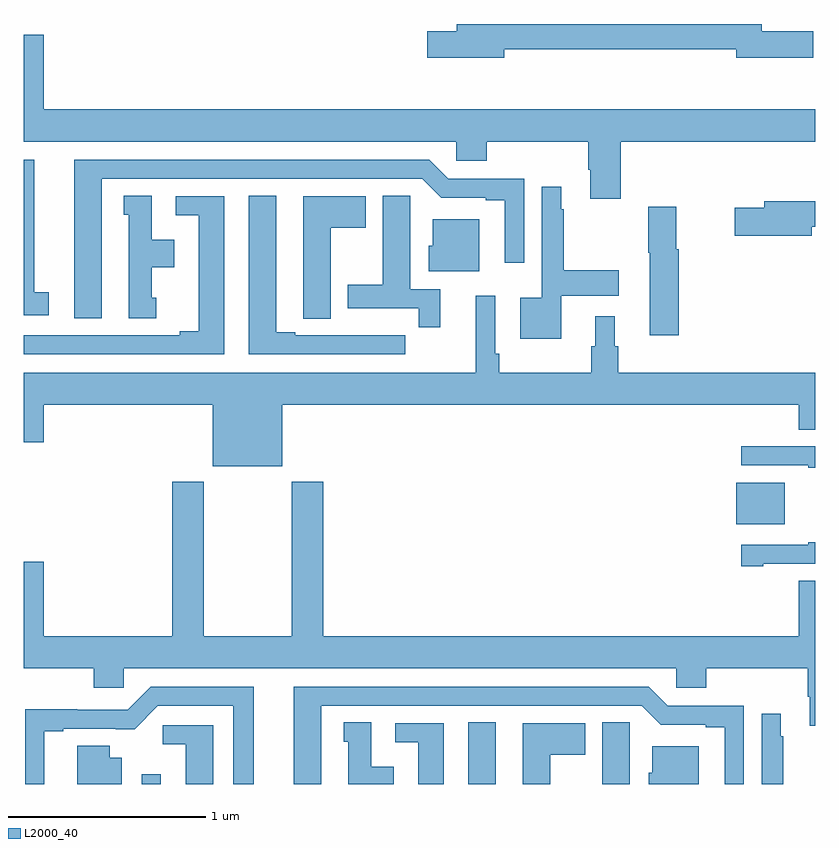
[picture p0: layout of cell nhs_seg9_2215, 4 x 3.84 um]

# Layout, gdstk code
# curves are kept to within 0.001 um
import gdstk
lib = gdstk.Library(unit=1e-6, precision=1e-09)
def R(c, l, rs):  # rectangles x0, y0, x1, y1
    for r in rs: c.add(gdstk.rectangle(r[:2], r[2:], *l))
def P(c, l, *ps):  # polygons
    for p in ps: c.add(gdstk.Polygon(p, *l))
L2000_40 = (2000, 40)

nhs_seg9_2215 = lib.new_cell('nhs_seg9_2215')
R(nhs_seg9_2215, L2000_40, [(237.597,1198.5,237.693,1198.549), (239.246,1198.5,239.386,1198.811), (240.602,1199.813,240.847,1200.022)])
P(nhs_seg9_2215, L2000_40, [(239.428,1202.214),(240.602,1202.214),(240.602,1202.171),(240.991,1202.171),(240.991,1202.306),(240.73,1202.306),(240.73,1202.342),(239.189,1202.342),(239.189,1202.306),(239.04,1202.306),(239.04,1202.171),(239.428,1202.171)],
  [(240.017,1201.748),(241,1201.748),(241,1201.912),(237.1,1201.912),(237.1,1202.287),(237,1202.287),(237,1201.748),(239.187,1201.748),(239.187,1201.65),(239.339,1201.65),(239.339,1201.748),(239.852,1201.748),(239.852,1201.606),(239.864,1201.606),(239.864,1201.458),(240.017,1201.458)],
  [(237.127,1200.986),(237.052,1200.986),(237.052,1201.656),(237,1201.656),(237,1200.87),(237.127,1200.87)],
  [(237.394,1201.56),(239.013,1201.56),(239.109,1201.464),(239.336,1201.464),(239.336,1201.452),(239.432,1201.452),(239.432,1201.134),(239.529,1201.134),(239.529,1201.56),(239.145,1201.56),(239.049,1201.656),(237.254,1201.656),(237.254,1200.855),(237.394,1200.855)],
  [(239.716,1200.968),(240.007,1200.968),(240.007,1201.098),(239.728,1201.098),(239.728,1201.406),(239.716,1201.406),(239.716,1201.519),(239.619,1201.519),(239.619,1200.958),(239.51,1200.958),(239.51,1200.752),(239.716,1200.752)],
  [(239.105,1201.002),(238.954,1201.002),(238.954,1201.364),(238.953,1201.364),(238.953,1201.475),(238.814,1201.475),(238.814,1201.023),(238.637,1201.023),(238.637,1200.906),(238.996,1200.906),(238.996,1200.81),(239.105,1200.81)],
  [(238.927,1200.768),(238.814,1200.768),(238.814,1200.769),(238.648,1200.769),(238.648,1200.768),(238.372,1200.768),(238.372,1200.783),(238.276,1200.783),(238.276,1201.475),(238.136,1201.475),(238.136,1200.672),(238.927,1200.672)],
  [(237.67,1200.957),(237.646,1200.957),(237.646,1201.112),(237.76,1201.112),(237.76,1201.252),(237.646,1201.252),(237.646,1201.475),(237.506,1201.475),(237.506,1201.377),(237.53,1201.377),(237.53,1200.855),(237.67,1200.855)],
  [(238.552,1201.312),(238.729,1201.312),(238.729,1201.471),(238.412,1201.471),(238.412,1200.961),(238.413,1200.961),(238.413,1200.853),(238.552,1200.853)],
  [(238.012,1201.47),(237.768,1201.47),(237.768,1201.374),(237.884,1201.374),(237.884,1200.788),(237.788,1200.788),(237.788,1200.768),(237,1200.768),(237,1200.672),(238.012,1200.672)],
  [(240.982,1201.318),(241,1201.318),(241,1201.447),(240.743,1201.447),(240.743,1201.413),(240.594,1201.413),(240.594,1201.271),(240.982,1201.271)],
  [(240.311,1201.204),(240.298,1201.204),(240.298,1201.417),(240.157,1201.417),(240.157,1201.186),(240.164,1201.186),(240.164,1200.768),(240.311,1200.768)],
  [(239.302,1201.354),(239.066,1201.354),(239.066,1201.221),(239.048,1201.221),(239.048,1201.091),(239.302,1201.091)],
  [(238.306,1200.416),(240.917,1200.416),(240.917,1200.292),(241,1200.292),(241,1200.58),(240.005,1200.58),(240.005,1200.714),(239.986,1200.714),(239.986,1200.865),(239.888,1200.865),(239.888,1200.714),(239.869,1200.714),(239.869,1200.58),(239.402,1200.58),(239.402,1200.676),(239.382,1200.676),(239.382,1200.967),(239.285,1200.967),(239.285,1200.58),(237,1200.58),(237,1200.228),(237.1,1200.228),(237.1,1200.416),(237.956,1200.416),(237.956,1200.107),(238.306,1200.107)],
  [(241,1200.207),(240.627,1200.207),(240.627,1200.111),(240.965,1200.111),(240.965,1200.099),(241,1200.099)],
  [(241,1199.528),(240.917,1199.528),(240.917,1199.248),(238.514,1199.248),(238.514,1200.028),(238.354,1200.028),(238.354,1199.248),(237.909,1199.248),(237.909,1200.028),(237.749,1200.028),(237.749,1199.248),(237.1,1199.248),(237.1,1199.623),(237,1199.623),(237,1199.084),(237.353,1199.084),(237.353,1198.986),(237.504,1198.986),(237.504,1199.084),(240.297,1199.084),(240.297,1198.986),(240.449,1198.986),(240.449,1199.084),(240.962,1199.084),(240.962,1198.942),(240.974,1198.942),(240.974,1198.794),(241,1198.794)],
  [(240.739,1199.613),(241,1199.613),(241,1199.722),(240.965,1199.722),(240.965,1199.709),(240.627,1199.709),(240.627,1199.601),(240.739,1199.601)],
  [(237.103,1198.767),(237.199,1198.767),(237.199,1198.779),(237.56,1198.778),(237.678,1198.896),(238.058,1198.896),(238.058,1198.5),(238.162,1198.5),(238.162,1198.992),(237.642,1198.992),(237.525,1198.875),(237.269,1198.875),(237.269,1198.877),(237.006,1198.877),(237.006,1198.5),(237.103,1198.5)],
  [(238.504,1198.896),(240.123,1198.896),(240.219,1198.8),(240.446,1198.8),(240.446,1198.788),(240.542,1198.788),(240.542,1198.5),(240.639,1198.5),(240.639,1198.896),(240.255,1198.896),(240.159,1198.992),(238.364,1198.992),(238.364,1198.5),(238.504,1198.5)],
  [(240.838,1198.742),(240.826,1198.742),(240.826,1198.855),(240.729,1198.855),(240.729,1198.5),(240.838,1198.5)],
  [(238.87,1198.588),(238.756,1198.588),(238.756,1198.811),(238.616,1198.811),(238.616,1198.713),(238.64,1198.713),(238.64,1198.5),(238.87,1198.5)],
  [(240.064,1198.7),(240.063,1198.7),(240.063,1198.811),(239.924,1198.811),(239.924,1198.5),(240.064,1198.5)],
  [(239.662,1198.648),(239.839,1198.648),(239.839,1198.807),(239.522,1198.807),(239.522,1198.5),(239.662,1198.5)],
  [(239.122,1198.806),(238.878,1198.806),(238.878,1198.71),(238.994,1198.71),(238.994,1198.5),(239.122,1198.5)],
  [(237.958,1198.797),(237.702,1198.797),(237.702,1198.7),(237.818,1198.7),(237.818,1198.5),(237.958,1198.5)],
  [(237.496,1198.633),(237.433,1198.633),(237.433,1198.694),(237.269,1198.694),(237.269,1198.5),(237.496,1198.5)],
  [(240.412,1198.69),(240.176,1198.69),(240.176,1198.557),(240.158,1198.557),(240.158,1198.5),(240.412,1198.5)])

lib.write_gds('nhs_seg9_2215.gds')
